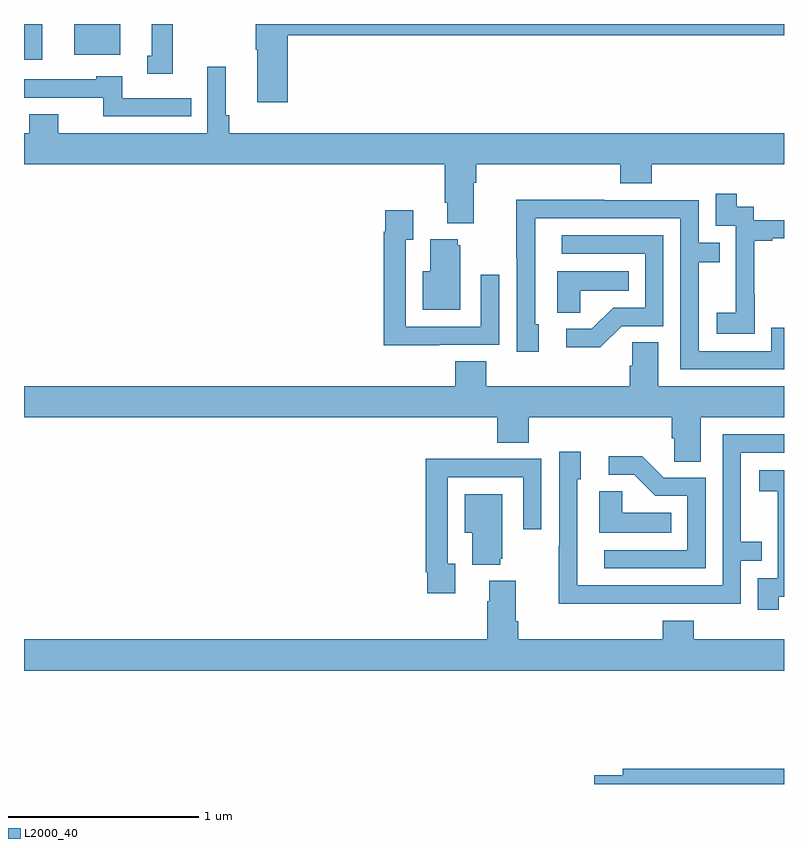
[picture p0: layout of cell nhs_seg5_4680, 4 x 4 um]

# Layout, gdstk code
import gdstk
lib = gdstk.Library(unit=1e-6, precision=1e-09)
def R(c, l, rs):  # rectangles x0, y0, x1, y1
    for r in rs: c.add(gdstk.rectangle(r[:2], r[2:], *l))
def P(c, l, *ps):  # polygons
    for p in ps: c.add(gdstk.Polygon(p, *l))
L2000_40 = (2000, 40)

nhs_seg5_4680 = lib.new_cell('nhs_seg5_4680')
R(nhs_seg5_4680, L2000_40, [(385,890.61,385.096,890.799), (385.265,890.636,385.507,890.799)])
P(nhs_seg5_4680, L2000_40, [(385.783,890.799),(385.673,890.799),(385.673,890.631),(385.649,890.631),(385.649,890.537),(385.783,890.537)],
  [(386.387,890.74),(389,890.74),(389,890.799),(386.221,890.799),(386.221,890.663),(386.228,890.663),(386.228,890.388),(386.387,890.388)],
  [(387.367,889.964),(387.38,889.964),(387.38,890.06),(388.139,890.06),(388.139,889.961),(388.304,889.961),(388.304,890.06),(389,890.06),(389,890.224),(386.081,890.224),(386.081,890.32),(386.062,890.32),(386.062,890.575),(385.965,890.575),(385.965,890.224),(385.18,890.224),(385.18,890.323),(385.028,890.323),(385.028,890.224),(385,890.224),(385,890.06),(387.215,890.06),(387.215,889.858),(387.227,889.858),(387.227,889.751),(387.367,889.751)],
  [(385.88,890.409),(385.516,890.409),(385.516,890.524),(385.38,890.524),(385.38,890.508),(385,890.508),(385,890.412),(385.417,890.412),(385.417,890.313),(385.88,890.313)],
  [(388.845,889.375),(388.844,889.375),(388.844,889.659),(388.939,889.659),(388.939,889.671),(389,889.671),(389,889.767),(388.842,889.767),(388.842,889.836),(388.75,889.836),(388.75,889.906),(388.641,889.906),(388.641,889.737),(388.746,889.737),(388.746,889.508),(388.745,889.508),(388.745,889.279),(388.647,889.279),(388.647,889.169),(388.845,889.169)],
  [(389,889.2),(388.932,889.2),(388.932,889.077),(388.551,889.077),(388.551,889.546),(388.661,889.546),(388.661,889.647),(388.551,889.647),(388.551,889.872),(388.055,889.872),(388.055,889.874),(387.592,889.874),(387.592,889.567),(387.594,889.567),(387.594,889.074),(387.709,889.074),(387.709,889.218),(387.69,889.218),(387.69,889.776),(388.455,889.776),(388.455,888.981),(389,888.981)],
  [(387.185,889.11),(387.501,889.11),(387.501,889.48),(387.405,889.48),(387.405,889.206),(387.009,889.206),(387.009,889.663),(387.049,889.663),(387.049,889.819),(386.901,889.819),(386.901,889.706),(386.893,889.706),(386.893,889.109),(387.185,889.109)],
  [(388.146,889.209),(388.365,889.209),(388.365,889.686),(387.831,889.686),(387.831,889.59),(388.269,889.59),(388.269,889.305),(388.1,889.305),(387.989,889.194),(387.855,889.194),(387.855,889.097),(388.033,889.097)],
  [(387.295,889.635),(387.284,889.635),(387.284,889.666),(387.137,889.666),(387.137,889.498),(387.098,889.498),(387.098,889.295),(387.295,889.295)],
  [(387.927,889.394),(388.184,889.394),(388.184,889.498),(387.806,889.498),(387.806,889.279),(387.927,889.279)],
  [(388.561,888.728),(389,888.728),(389,888.892),(388.339,888.892),(388.339,889.124),(388.2,889.124),(388.2,889.001),(388.187,889.001),(388.187,888.892),(387.434,888.892),(387.434,889.025),(387.269,889.025),(387.269,888.892),(385,888.892),(385,888.728),(387.491,888.728),(387.491,888.595),(387.656,888.595),(387.656,888.728),(388.409,888.728),(388.409,888.619),(388.422,888.619),(388.422,888.496),(388.561,888.496)],
  [(388.277,887.748),(388.773,887.748),(388.773,887.973),(388.883,887.973),(388.883,888.074),(388.773,888.074),(388.773,888.543),(389,888.543),(389,888.639),(388.677,888.639),(388.677,887.844),(387.912,887.844),(387.912,888.402),(387.931,888.402),(387.931,888.547),(387.816,888.547),(387.816,888.053),(387.814,888.053),(387.814,887.747),(388.277,887.747)],
  [(388.587,888.411),(388.368,888.411),(388.255,888.524),(388.077,888.524),(388.077,888.426),(388.211,888.426),(388.322,888.315),(388.491,888.315),(388.491,888.03),(388.053,888.03),(388.053,887.934),(388.587,887.934)],
  [(387.271,887.958),(387.231,887.958),(387.231,888.414),(387.627,888.414),(387.627,888.141),(387.723,888.141),(387.723,888.51),(387.407,888.51),(387.407,888.512),(387.115,888.512),(387.115,887.914),(387.123,887.914),(387.123,887.802),(387.271,887.802)],
  [(388.972,887.785),(389,887.785),(389,888.451),(388.869,888.451),(388.869,888.341),(388.967,888.341),(388.967,888.113),(388.968,888.113),(388.968,887.883),(388.863,887.883),(388.863,887.715),(388.972,887.715)],
  [(388.406,888.226),(388.149,888.226),(388.149,888.341),(388.028,888.341),(388.028,888.122),(388.406,888.122)],
  [(387.506,887.985),(387.517,887.985),(387.517,888.325),(387.32,888.325),(387.32,888.122),(387.359,888.122),(387.359,887.954),(387.506,887.954)],
  [(389,887.56),(388.526,887.56),(388.526,887.659),(388.361,887.659),(388.361,887.56),(387.602,887.56),(387.602,887.656),(387.589,887.656),(387.589,887.869),(387.449,887.869),(387.449,887.762),(387.437,887.762),(387.437,887.56),(385,887.56),(385,887.396),(389,887.396)],
  [(389,886.88),(388.151,886.88),(388.151,886.844),(388.002,886.844),(388.002,886.799),(389,886.799)])

lib.write_gds('nhs_seg5_4680.gds')
